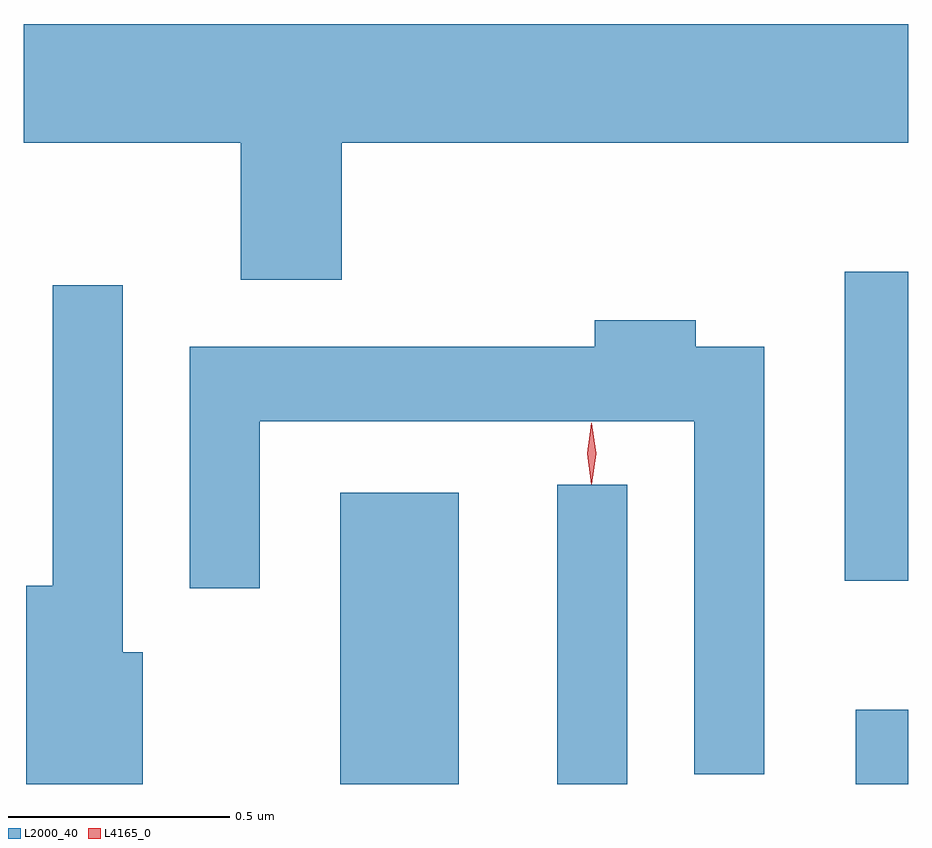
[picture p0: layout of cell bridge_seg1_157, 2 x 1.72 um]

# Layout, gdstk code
import gdstk
lib = gdstk.Library(unit=1e-6, precision=1e-09)
def R(c, l, rs):  # rectangles x0, y0, x1, y1
    for r in rs: c.add(gdstk.rectangle(r[:2], r[2:], *l))
def P(c, l, *ps):  # polygons
    for p in ps: c.add(gdstk.Polygon(p, *l))
L2000_40 = (2000, 40)
L4165_0 = (4165, 0)

bridge_seg1_157 = lib.new_cell('bridge_seg1_157')
R(bridge_seg1_157, L2000_40, [(857.586,911.446,857.854,912.104), (858.076,911.446,858.234,912.123), (858.751,911.446,858.87,911.614), (858.726,911.906,858.87,912.604)])
P(bridge_seg1_157, L2000_40, [(857.589,912.896),(858.87,912.896),(858.87,913.164),(856.87,913.164),(856.87,912.896),(857.361,912.896),(857.361,912.586),(857.589,912.586)],
  [(857.139,911.744),(857.094,911.744),(857.094,912.573),(856.936,912.573),(856.936,911.894),(856.876,911.894),(856.876,911.446),(857.139,911.446)],
  [(858.544,912.434),(858.389,912.434),(858.389,912.494),(858.161,912.494),(858.161,912.434),(857.246,912.434),(857.246,911.888),(857.404,911.888),(857.404,912.266),(858.386,912.266),(858.386,911.468),(858.544,911.468)])
P(bridge_seg1_157, L4165_0, [(858.153,912.124),(858.144,912.193),(858.153,912.262),(858.154,912.263),(858.154,912.262),(858.164,912.193),(858.154,912.124),(858.154,912.124)],
  [(858.154,912.127),(858.153,912.128),(858.144,912.194),(858.153,912.26),(858.154,912.26),(858.154,912.26),(858.164,912.194),(858.154,912.128)])

lib.write_gds('bridge_seg1_157.gds')
